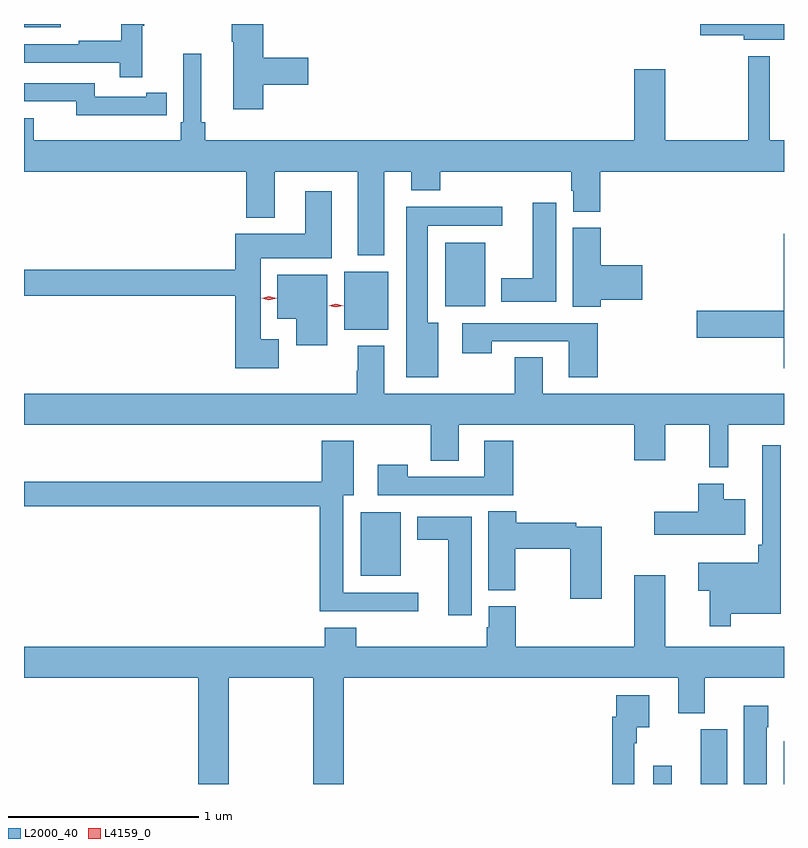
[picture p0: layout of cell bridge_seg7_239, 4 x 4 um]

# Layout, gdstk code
import gdstk
lib = gdstk.Library(unit=1e-6, precision=1e-09)
def R(c, l, rs):  # rectangles x0, y0, x1, y1
    for r in rs: c.add(gdstk.rectangle(r[:2], r[2:], *l))
def P(c, l, *ps):  # polygons
    for p in ps: c.add(gdstk.Polygon(p, *l))
L2000_40 = (2000, 40)
L4159_0 = (4159, 0)

bridge_seg7_239 = lib.new_cell('bridge_seg7_239')
R(bridge_seg7_239, L2000_40, [(261.012,1057.333,261.109,1057.429), (261.263,1057.333,261.4,1057.62), (261.698,1057.333,261.7,1057.557), (259.472,1058.429,259.684,1058.764), (259.385,1059.725,259.618,1060.03), (259.916,1059.848,260.128,1060.183), (257.7,1061.315,257.893,1061.333)])
P(bridge_seg7_239, L2000_40, [(258.323,1061.323),(258.334,1061.323),(258.334,1061.333),(258.213,1061.333),(258.213,1061.246),(257.989,1061.246),(257.989,1061.226),(257.7,1061.226),(257.7,1061.13),(258.205,1061.13),(258.205,1061.052),(258.323,1061.052)],
  [(261.7,1061.333),(261.258,1061.333),(261.258,1061.273),(261.488,1061.273),(261.488,1061.249),(261.7,1061.249)],
  [(258.959,1061.014),(259.195,1061.014),(259.195,1061.156),(258.959,1061.156),(258.959,1061.333),(258.793,1061.333),(258.793,1061.239),(258.8,1061.239),(258.8,1060.884),(258.959,1060.884)],
  [(259.597,1060.556),(259.739,1060.556),(259.739,1060.457),(259.892,1060.457),(259.892,1060.556),(260.579,1060.556),(260.579,1060.455),(260.591,1060.455),(260.591,1060.345),(260.732,1060.345),(260.732,1060.556),(261.7,1060.556),(261.7,1060.72),(261.625,1060.72),(261.625,1061.164),(261.511,1061.164),(261.511,1060.72),(261.076,1060.72),(261.076,1061.095),(260.912,1061.095),(260.912,1060.72),(258.653,1060.72),(258.653,1060.816),(258.634,1060.816),(258.634,1061.176),(258.537,1061.176),(258.537,1060.816),(258.524,1060.816),(258.524,1060.72),(257.752,1060.72),(257.752,1060.837),(257.7,1060.837),(257.7,1060.556),(258.869,1060.556),(258.869,1060.313),(259.021,1060.313),(259.021,1060.556),(259.457,1060.556),(259.457,1060.115),(259.597,1060.115)],
  [(258.344,1060.854),(258.452,1060.854),(258.452,1060.97),(258.344,1060.97),(258.344,1060.95),(258.072,1060.95),(258.072,1061.022),(257.7,1061.022),(257.7,1060.926),(257.976,1060.926),(257.976,1060.853),(258.344,1060.853)],
  [(259.041,1059.673),(258.946,1059.673),(258.946,1060.1),(259.321,1060.1),(259.321,1060.453),(259.181,1060.453),(259.181,1060.228),(258.812,1060.228),(258.812,1060.04),(257.7,1060.04),(257.7,1059.904),(258.812,1059.904),(258.812,1059.521),(259.041,1059.521)],
  [(260.5,1060.393),(260.378,1060.393),(260.378,1059.994),(260.213,1059.994),(260.213,1059.872),(260.5,1059.872)],
  [(259.879,1059.76),(259.825,1059.76),(259.825,1060.272),(260.218,1060.272),(260.218,1060.37),(259.712,1060.37),(259.712,1059.474),(259.879,1059.474)],
  [(260.735,1059.881),(260.953,1059.881),(260.953,1060.064),(260.735,1060.064),(260.735,1060.26),(260.588,1060.26),(260.588,1059.844),(260.735,1059.844)],
  [(261.7,1060.228),(261.698,1060.228),(261.698,1059.824),(261.24,1059.824),(261.24,1059.682),(261.698,1059.682),(261.698,1059.521),(261.7,1059.521)],
  [(259.297,1060.012),(259.034,1060.012),(259.034,1059.782),(259.133,1059.782),(259.133,1059.642),(259.297,1059.642)],
  [(260.72,1059.759),(260.007,1059.759),(260.007,1059.6),(260.163,1059.6),(260.163,1059.663),(260.567,1059.663),(260.567,1059.474),(260.72,1059.474)],
  [(261.407,1059.224),(261.7,1059.224),(261.7,1059.388),(260.431,1059.388),(260.431,1059.578),(260.284,1059.578),(260.284,1059.388),(259.597,1059.388),(259.597,1059.64),(259.457,1059.64),(259.457,1059.509),(259.45,1059.509),(259.45,1059.388),(257.7,1059.388),(257.7,1059.224),(259.84,1059.224),(259.84,1059.034),(259.987,1059.034),(259.987,1059.224),(260.912,1059.224),(260.912,1059.036),(261.076,1059.036),(261.076,1059.224),(261.307,1059.224),(261.307,1058.999),(261.407,1058.999)],
  [(259.774,1058.34),(259.381,1058.34),(259.381,1058.852),(259.435,1058.852),(259.435,1059.139),(259.268,1059.139),(259.268,1058.923),(257.7,1058.923),(257.7,1058.794),(259.256,1058.794),(259.256,1058.243),(259.774,1058.243)],
  [(260.276,1059.139),(260.123,1059.139),(260.123,1058.949),(259.719,1058.949),(259.719,1059.013),(259.563,1059.013),(259.563,1058.853),(260.276,1058.853)],
  [(261.421,1058.228),(261.682,1058.228),(261.682,1059.115),(261.585,1059.115),(261.585,1058.593),(261.565,1058.593),(261.565,1058.497),(261.248,1058.497),(261.248,1058.35),(261.31,1058.35),(261.31,1058.163),(261.421,1058.163)],
  [(261.496,1058.833),(261.382,1058.833),(261.382,1058.914),(261.248,1058.914),(261.248,1058.767),(261.018,1058.767),(261.018,1058.645),(261.496,1058.645)],
  [(260.74,1058.688),(260.606,1058.688),(260.606,1058.708),(260.291,1058.708),(260.291,1058.768),(260.144,1058.768),(260.144,1058.353),(260.286,1058.353),(260.286,1058.572),(260.575,1058.572),(260.575,1058.307),(260.74,1058.307)],
  [(260.056,1058.74),(259.769,1058.74),(259.769,1058.618),(259.934,1058.618),(259.934,1058.22),(260.056,1058.22)],
  [(258.777,1057.892),(259.222,1057.892),(259.222,1057.333),(259.382,1057.333),(259.382,1057.892),(261.143,1057.892),(261.143,1057.705),(261.283,1057.705),(261.283,1057.892),(261.7,1057.892),(261.7,1058.056),(261.076,1058.056),(261.076,1058.431),(260.912,1058.431),(260.912,1058.056),(260.288,1058.056),(260.288,1058.268),(260.147,1058.268),(260.147,1058.157),(260.135,1058.157),(260.135,1058.056),(259.448,1058.056),(259.448,1058.155),(259.283,1058.155),(259.283,1058.056),(257.7,1058.056),(257.7,1057.892),(258.617,1057.892),(258.617,1057.333),(258.777,1057.333)],
  [(260.913,1057.547),(260.926,1057.547),(260.926,1057.631),(260.992,1057.631),(260.992,1057.801),(260.817,1057.801),(260.817,1057.688),(260.797,1057.688),(260.797,1057.333),(260.913,1057.333)],
  [(261.61,1057.631),(261.618,1057.631),(261.618,1057.744),(261.488,1057.744),(261.488,1057.333),(261.61,1057.333)])
P(bridge_seg7_239, L4159_0, [(259.341,1059.841),(259.303,1059.85),(259.303,1059.851),(259.303,1059.851),(259.341,1059.861),(259.379,1059.851),(259.379,1059.851),(259.379,1059.85)],
  [(258.989,1059.88),(258.95,1059.889),(258.949,1059.889),(258.95,1059.89),(258.989,1059.899),(259.029,1059.89),(259.029,1059.89),(259.029,1059.889)])

lib.write_gds('bridge_seg7_239.gds')
